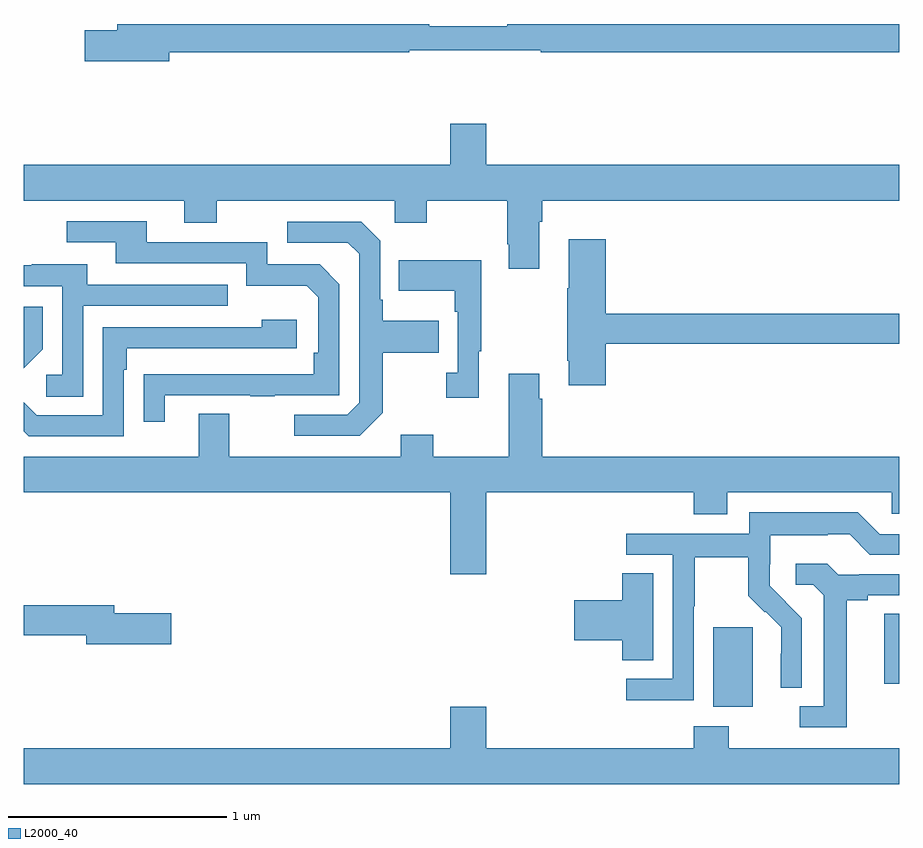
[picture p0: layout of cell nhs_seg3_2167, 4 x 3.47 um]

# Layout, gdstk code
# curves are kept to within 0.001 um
import gdstk
lib = gdstk.Library(unit=1e-6, precision=1e-09)
def R(c, l, rs):  # rectangles x0, y0, x1, y1
    for r in rs: c.add(gdstk.rectangle(r[:2], r[2:], *l))
def P(c, l, *ps):  # polygons
    for p in ps: c.add(gdstk.Polygon(p, *l))
L2000_40 = (2000, 40)

nhs_seg3_2167 = lib.new_cell('nhs_seg3_2167')
R(nhs_seg3_2167, L2000_40, [(226.151,689.282,226.33,689.643), (226.931,689.385,227,689.705)])
P(nhs_seg3_2167, L2000_40, [(223.666,692.272),(224.762,692.272),(224.762,692.28),(225.362,692.28),(225.362,692.272),(227,692.272),(227,692.4),(225.208,692.4),(225.208,692.389),(224.852,692.389),(224.852,692.4),(223.427,692.4),(223.427,692.372),(223.278,692.372),(223.278,692.23),(223.666,692.23)],
  [(225.355,691.496),(225.368,691.496),(225.368,691.592),(227,691.592),(227,691.756),(225.112,691.756),(225.112,691.945),(224.948,691.945),(224.948,691.756),(223,691.756),(223,691.592),(223.733,691.592),(223.733,691.493),(223.881,691.493),(223.881,691.592),(224.694,691.592),(224.694,691.493),(224.841,691.493),(224.841,691.592),(225.208,691.592),(225.208,691.393),(225.215,691.393),(225.215,691.281),(225.355,691.281)],
  [(223.645,690.705),(224.035,690.705),(224.035,690.7),(224.147,690.7),(224.147,690.705),(224.442,690.705),(224.442,691.212),(224.352,691.302),(224.112,691.302),(224.112,691.404),(223.561,691.404),(223.561,691.5),(223.197,691.5),(223.197,691.404),(223.421,691.404),(223.421,691.308),(224.016,691.308),(224.016,691.205),(224.293,691.205),(224.346,691.152),(224.346,690.898),(224.326,690.898),(224.326,690.801),(223.549,690.8),(223.549,690.582),(223.645,690.582)],
  [(224.641,690.625),(224.641,690.898),(224.897,690.898),(224.897,691.045),(224.641,691.045),(224.641,691.141),(224.628,691.141),(224.628,691.41),(224.541,691.497),(224.205,691.497),(224.205,691.401),(224.481,691.401),(224.532,691.35),(224.532,690.669),(224.478,690.615),(224.235,690.615),(224.235,690.519),(224.535,690.519)],
  [(225.659,690.94),(227,690.94),(227,691.076),(225.659,691.076),(225.659,691.417),(225.491,691.417),(225.491,691.193),(225.484,691.193),(225.484,690.862),(225.491,690.862),(225.491,690.75),(225.659,690.75)],
  [(225.079,690.905),(225.091,690.905),(225.091,691.321),(224.713,691.321),(224.713,691.181),(224.97,691.181),(224.97,691.085),(224.982,691.085),(224.982,690.806),(224.931,690.806),(224.931,690.693),(225.079,690.693)],
  [(223.272,691.113),(223.931,691.113),(223.931,691.209),(223.291,691.209),(223.291,691.303),(223.037,691.303),(223.037,691.299),(223,691.299),(223,691.203),(223.176,691.203),(223.176,690.798),(223.104,690.798),(223.104,690.697),(223.272,690.697)],
  [(223.086,690.914),(223.086,691.108),(223,691.108),(223,690.828)],
  [(223.458,690.821),(223.471,690.821),(223.471,690.918),(224.248,690.918),(224.248,691.048),(224.087,691.048),(224.087,691.014),(223.362,691.014),(223.362,690.612),(223.059,690.612),(223,690.671),(223,690.539),(223.023,690.516),(223.458,690.516)],
  [(225.112,690.26),(226.061,690.26),(226.061,690.161),(226.213,690.161),(226.213,690.26),(226.965,690.26),(226.965,690.162),(227,690.162),(227,690.424),(225.368,690.424),(225.368,690.689),(225.355,690.689),(225.355,690.802),(225.215,690.802),(225.215,690.424),(224.871,690.424),(224.871,690.523),(224.723,690.523),(224.723,690.424),(223.939,690.424),(223.939,690.619),(223.799,690.619),(223.799,690.424),(223,690.424),(223,690.26),(224.948,690.26),(224.948,689.886),(225.112,689.886)],
  [(226.062,689.74),(226.065,689.74),(226.065,689.964),(226.309,689.964),(226.309,689.789),(226.386,689.712),(226.389,689.715),(226.46,689.645),(226.46,689.522),(226.458,689.522),(226.458,689.368),(226.554,689.368),(226.554,689.686),(226.408,689.834),(226.408,689.931),(226.41,689.931),(226.41,690.065),(226.673,690.065),(226.673,690.069),(226.773,690.069),(226.866,689.976),(227,689.976),(227,690.069),(226.911,690.069),(226.811,690.169),(226.314,690.169),(226.314,690.072),(225.753,690.072),(225.753,689.976),(225.966,689.976),(225.966,689.409),(225.753,689.409),(225.753,689.311),(226.062,689.311)],
  [(226.759,689.768),(226.855,689.768),(226.855,689.79),(227,689.79),(227,689.886),(226.816,689.886),(226.816,689.883),(226.722,689.883),(226.67,689.935),(226.527,689.935),(226.527,689.838),(226.608,689.838),(226.655,689.791),(226.655,689.283),(226.545,689.283),(226.545,689.187),(226.759,689.187)],
  [(225.877,689.891),(225.734,689.891),(225.734,689.768),(225.516,689.768),(225.516,689.585),(225.734,689.585),(225.734,689.494),(225.877,689.494)],
  [(223.675,689.708),(223.414,689.708),(223.414,689.744),(223,689.744),(223,689.608),(223.286,689.608),(223.286,689.566),(223.675,689.566)],
  [(227,689.092),(226.221,689.092),(226.221,689.191),(226.061,689.191),(226.061,689.092),(225.112,689.092),(225.112,689.281),(224.948,689.281),(224.948,689.092),(223,689.092),(223,688.928),(227,688.928)])

lib.write_gds('nhs_seg3_2167.gds')
